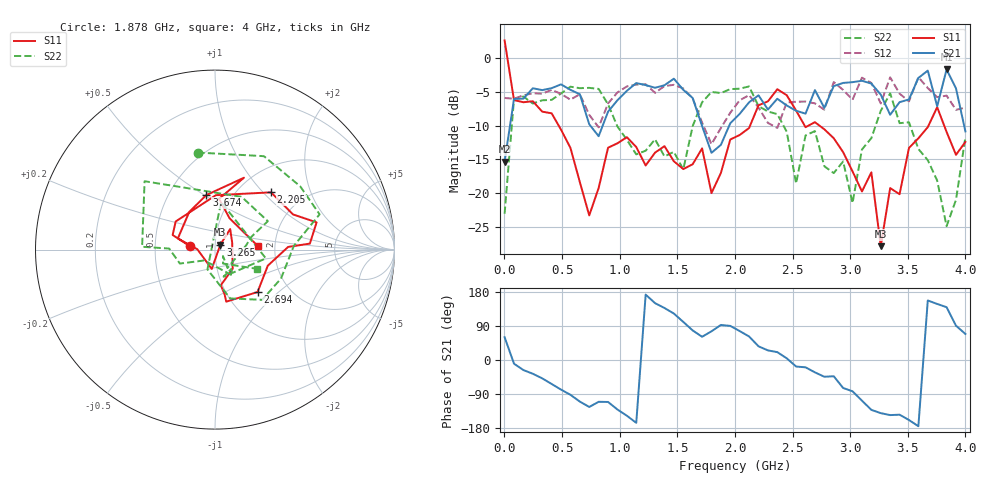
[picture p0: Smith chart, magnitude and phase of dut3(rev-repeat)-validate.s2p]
!Created with skrf (http://scikit-rf.org).
# GHz S DB R 50.0
!freq dBS11 angS11 dBS21 angS21 dBS12 angS12 dBS22 angS22
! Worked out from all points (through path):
!   50 points, 1 MHz to 4 GHz, reference 50 ohm
!   highest |S21| = -1.72 dB at 3.837 GHz (marker M1); lowest = -15.3 dB at 1 MHz (marker M2)
!   lowest |S11| = -27.8 dB at 3.265 GHz (marker M3), VSWR 1.08, Z = 53 + j2.93 ohm
!   |S11| at or under -10 dB: 470.1 MHz to 2.132 GHz (1.662 GHz wide, 128 % of centre); 2.733 GHz to 3.68 GHz (947.3 MHz wide, 29.5 % of centre); 3.816 GHz to end of sweep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
!   |S22| runs from -24.9 to -4.2 dB; largest |S21 - S12| = 0.61
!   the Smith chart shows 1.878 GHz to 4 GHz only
!   S11 on the Smith chart (normalised r, x): 1.878 GHz: 0.75, +0.03; 2.205 GHz: 1.39, +1.11; 2.694 GHz: 1.39, -0.74; 3.265 GHz: 1.06, +0.06; 3.674 GHz: 0.76, +0.51; 4 GHz: 1.62, +0.07
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0.001  2.56 95.4  -15.32 60.1  -5.93 -60.7  -23.02 140.8
0.08261224  -6.25 161.3  -6.07 -9.7  -6.05 -10.8  -6.04 165.3
0.5722857  -13.29 12.2  -4.73 -91.8  -6.18 -95.5  -4.26 59.3
0.7355102  -23.27 -146.9  -9.81 -123.9  -8.42 -139.7  -4.44 -5.2
0.9803469  -12.62 10.1  -6.27 -130.7  -5.11 -126.8  -10.14 -65.1
1.388408  -13.05 -133.5  -4.05 137.2  -4.17 136.9  -14.56 -129.9
1.633245  -15.71 69.1  -5.94 78.0  -5.99 81.9  -10.09 175.2
1.878082  -17.00 172.3  -12.85 92.5  -10.36 99.2  -5.20 100.2
2.041306  -11.39 144.4  -8.28 76.4  -6.27 64.4  -4.56 36.7
2.204531  -7.01 45.6  -5.54 36.2  -7.35 33.4  -7.14 2.7
2.53098  -7.79 2.1  -7.82 -17.2  -6.49 1.6  -18.55 -110.9
2.612592  -10.24 -16.9  -8.24 -19.3  -6.46 -8.8  -11.45 82.7
2.694204  -9.50 -44.9  -4.77 -32.6  -6.73 -21.9  -10.82 -9.8
3.020653  -16.77 -47.2  -3.60 -82.6  -6.18 -85.7  -21.44 -134.5
3.183878  -16.91 53.6  -3.81 -131.6  -3.71 -126.2  -11.86 178.7
3.26549  -27.80 42.7  -5.44 -140.2  -6.74 -133.9  -7.82 177.8
3.347102  -19.23 -99.5  -8.41 -145.4  -2.88 -134.9  -5.24 135.9
3.510327  -13.31 163.3  -6.15 -158.4  -6.44 178.6  -9.52 28.3
3.673551  -10.24 99.0  -1.89 157.1  -4.47 157.9  -15.10 8.0
3.755163  -7.30 68.0  -7.16 147.9  -5.81 113.6  -18.12 -55.8
3.836776  -10.94 85.4  -1.72 139.3  -5.58 140.6  -24.85 -38.9
4  -12.42 4.9  -10.86 68.7  -7.35 64.3  -11.74 -24.5
